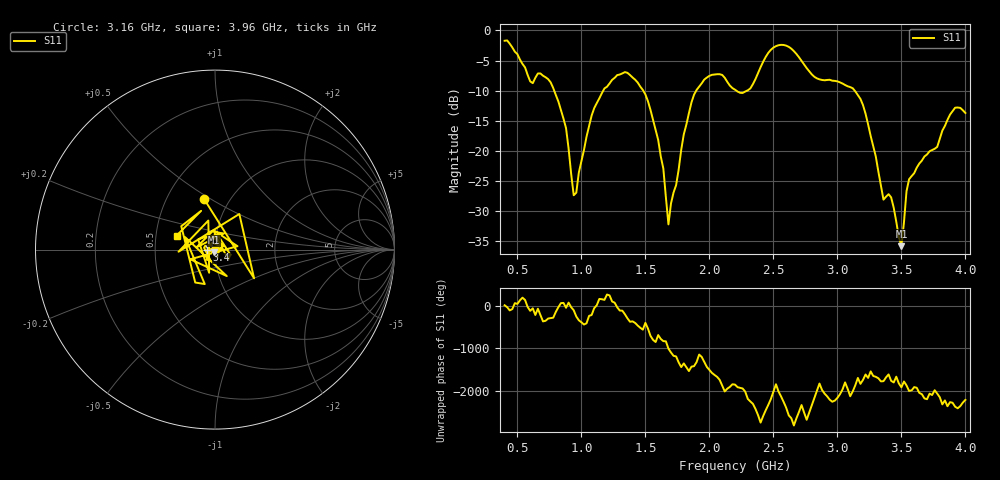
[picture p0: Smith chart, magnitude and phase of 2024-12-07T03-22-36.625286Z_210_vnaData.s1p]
!Created with skrf (http://scikit-rf.org).
# Hz S RI R 50.0
!freq ReS11 ImS11
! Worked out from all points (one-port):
!   181 points, 400 MHz to 4 GHz, reference 50 ohm
!   lowest |S11| = -35.8 dB at 3.5 GHz (marker M1), VSWR 1.03, Z = 49.3 - j1.43 ohm
!   |S11| at or under -10 dB: 787.5 MHz to 1.17 GHz (382.8 MHz wide, 39.1 % of centre); 1.483 GHz to 1.897 GHz (413.5 MHz wide, 24.5 % of centre); 3.136 GHz to end of sweep (the widest 3 of 4)
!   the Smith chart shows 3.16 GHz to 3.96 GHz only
!   S11 on the Smith chart (normalised r, x): 3.16 GHz: 0.76, +0.47; 3.4 GHz: 0.92, -0.01; 3.96 GHz: 0.64, +0.11
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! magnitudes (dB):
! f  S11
! 400 MHz  -1.7
! 600 MHz  -8.5
! 760 MHz  -8.6
! 860 MHz  -14.6
! 940 MHz  -27.3
! 1.1 GHz  -12.9
! 1.3 GHz  -7.3
! 1.52 GHz  -11.8
! 1.64 GHz  -22.9
! 1.68 GHz  -32.2
! 1.76 GHz  -23.1
! 1.8 GHz  -17.2
! 1.9 GHz  -9.9
! 2.06 GHz  -7.3
! 2.2 GHz  -9.8
! 2.32 GHz  -9.6
! 2.5 GHz  -2.9
! 2.66 GHz  -3.4
! 2.82 GHz  -7.7
! 3.1 GHz  -9.4
! 3.16 GHz  -10.7
! 3.22 GHz  -13.8
! 3.36 GHz  -28.1
! 3.4 GHz  -27.2
! 3.5 GHz  -35.8
! 3.56 GHz  -24.7
! 3.96 GHz  -12.8
! 4 GHz  -13.7
